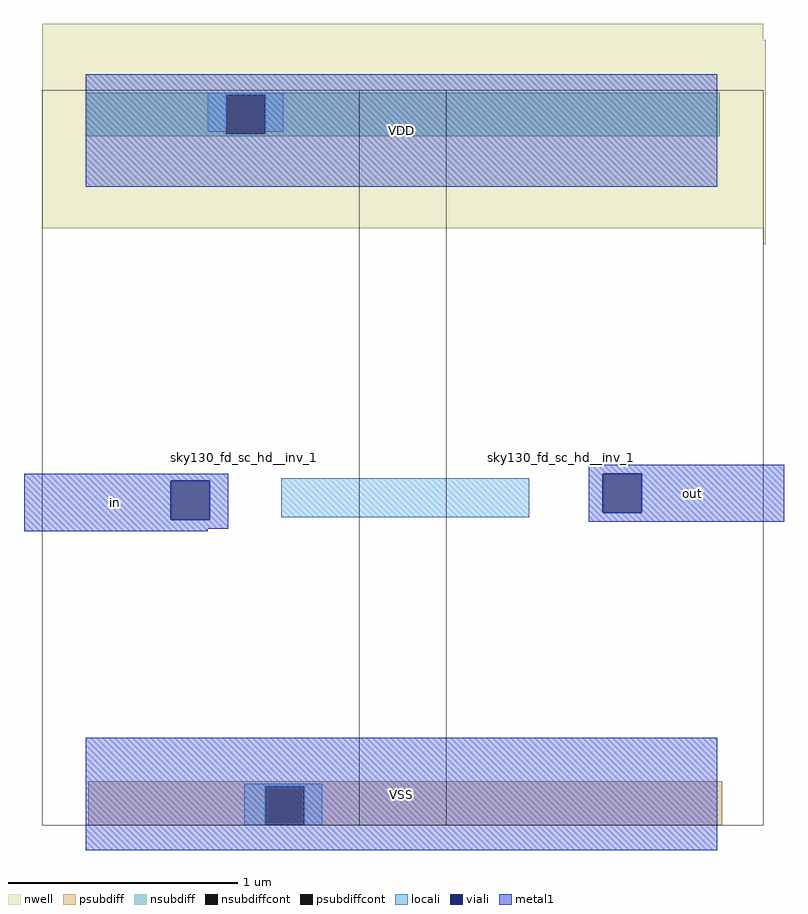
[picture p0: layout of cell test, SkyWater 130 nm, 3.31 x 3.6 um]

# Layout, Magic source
magic
tech sky130A
<< nwell >>
rect -19 618 295 625
rect -19 536 296 618
rect 295 529 296 536
<< psubdiff >>
rect 1 293 277 295
rect 1 276 78 293
rect 95 276 277 293
<< nsubdiff >>
rect 0 594 276 595
rect 0 577 61 594
rect 78 577 276 594
rect 0 576 276 577
<< psubdiffcont >>
rect 78 276 95 293
<< nsubdiffcont >>
rect 61 577 78 594
<< locali >>
rect 53 594 86 595
rect 53 578 61 594
rect 78 578 86 594
rect 85 410 193 427
rect 69 293 103 294
rect 69 276 78 293
rect 95 276 103 293
<< viali >>
rect 37 409 54 426
rect 225 412 242 429
<< metal1 >>
rect 0 554 275 603
rect 219 429 304 433
rect -27 426 62 429
rect -27 409 37 426
rect 54 409 62 426
rect -27 405 62 409
rect 219 412 225 429
rect 242 412 304 429
rect 219 408 304 412
rect -27 404 53 405
rect 0 265 275 314
use sky130_fd_sc_hd__inv_1  x1 $PDKPATH/libs.ref/sky130_fd_sc_hd/mag
transform 1 0 0 0 1 300
box -19 -24 157 296
use sky130_fd_sc_hd__inv_1  x2
transform 1 0 138 0 1 300
box -19 -24 157 296
<< labels >>
flabel metal1 0 554 275 603 0 FreeSans 160 0 0 0 VDD
port 0 nsew
flabel metal1 0 265 275 314 0 FreeSans 160 0 0 0 VSS
port 1 nsew
flabel metal1 -27 404 53 429 0 FreeSans 160 0 0 0 in
port 2 nsew
flabel metal1 224 408 304 433 0 FreeSans 160 0 0 0 out
port 4 nsew
<< end >>
